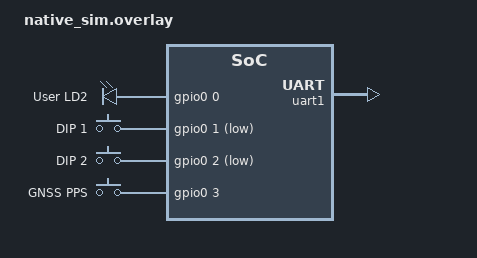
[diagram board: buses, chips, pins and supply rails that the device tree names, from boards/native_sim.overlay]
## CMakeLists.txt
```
cmake_minimum_required(VERSION 3.13.1)
find_package(Zephyr REQUIRED HINTS $ENV{ZEPHYR_BASE})

project(app LANGUAGES C CXX)

target_include_directories(app PRIVATE include)
target_sources(app PRIVATE src/main.cpp src/state_machine.cpp)
```

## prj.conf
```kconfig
# Copyright (c) 2024 Aaron Chan
# SPDX-License-Identifier: Apache-2.0

CONFIG_SMF=y
CONFIG_LORA=y
CONFIG_LOG=y
CONFIG_CBPRINTF_FP_SUPPORT=y
CONFIG_GNSS=y
CONFIG_GNSS_SATELLITES=y
CONFIG_GNSS_NMEA0183=y
CONFIG_UART_INTERRUPT_DRIVEN=y
CONFIG_CONSOLE=y
CONFIG_PRINTK=y
CONFIG_UART_CONSOLE=y
CONFIG_LOG_BACKEND_UART=y
CONFIG_SERIAL=y
CONFIG_COUNTER=y
CONFIG_CPP=y
CONFIG_REQUIRES_FULL_LIBCPP=y
CONFIG_STD_CPP23=y


CONFIG_MAIN_STACK_SIZE=2048
#CONFIG_LORA_LOG_LEVEL_DBG=y

CONFIG_SHELL=y

CONFIG_FLASH=y
CONFIG_FLASH_MAP=y
CONFIG_NVS=y
CONFIG_SETTINGS=y
CONFIG_SETTINGS_NVS=y
CONFIG_MPU_ALLOW_FLASH_WRITE=y

# Core
CONFIG_CORE=y
CONFIG_CORE_GNSS=y
CONFIG_CORE_SETTINGS=y
CONFIG_CORE_LORA=y
CONFIG_CORE_TDMA_TIME=y

# Core Settings
CONFIG_SHELL_FREQUENCY=y
CONFIG_LICENSED_FREQUENCY=n
CONFIG_SHELL_NODE_ID=y
```

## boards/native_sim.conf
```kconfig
# Disable real SPI hardware but keep LoRa enabled via sim driver
CONFIG_SPI=n
CONFIG_LORA=y
CONFIG_LORA_SIM=y

# GNSS over emulated UART
CONFIG_SERIAL=y
CONFIG_UART_NATIVE_POSIX=y
CONFIG_GNSS=y
CONFIG_GNSS_NMEA_GENERIC=y

# Console on native stdin/stdout
CONFIG_CONSOLE=y
CONFIG_NATIVE_UART_0_ON_STDINOUT=y

# NVS on emulated flash
CONFIG_FLASH=y
CONFIG_FLASH_MAP=y
CONFIG_NVS=y

# GPIO for LED/DIP/PPS stubs
CONFIG_GPIO=y

# Shell
CONFIG_SHELL=y
```

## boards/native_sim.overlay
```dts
// native_sim overlay for Outlaw GPS tracker
// Provides emulated peripherals matching the aliases used by application code

/ {
	leds: leds {
		compatible = "gpio-leds";

		led: led {
			gpios = <&gpio0 0 GPIO_ACTIVE_HIGH>;
			label = "User LD2";
		};
	};

	gpio_keys {
		compatible = "gpio-keys";

		dip1: dip1 {
			label = "DIP 1";
			gpios = <&gpio0 1 GPIO_ACTIVE_LOW>;
			zephyr,code = <0>;
		};

		dip2: dip2 {
			label = "DIP 2";
			gpios = <&gpio0 2 GPIO_ACTIVE_LOW>;
			zephyr,code = <0>;
		};

		pps: pps {
			label = "GNSS PPS";
			gpios = <&gpio0 3 GPIO_ACTIVE_HIGH>;
			zephyr,code = <0>;
		};
	};

	// Simulated LoRa over UDP multicast
	lora0: lora_sim {
		compatible = "wildwest,lora-sim";
		frequency = <903000000>;
		status = "okay";
	};

	aliases {
		led0 = &led;
		dip0 = &dip1;
		dip1 = &dip2;
		pps = &pps;
		lora = &lora0;
	};
};

// GNSS UART - native_sim provides uart0/uart1 by default
// Application can use uart1 as gnss-uart for NMEA injection via pipe/PTY
&uart1 {
	status = "okay";
};

&flash0 {
	partitions {
		compatible = "fixed-partitions";
		#address-cells = <1>;
		#size-cells = <1>;

		storage_partition: partition@0 {
			label = "storage";
			reg = <0x00000000 DT_SIZE_K(16)>;
		};
	};
};
```

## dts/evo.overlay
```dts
/ {
    aliases {
        lora = &lora1;
    };
};

&lora0 {
    status = "disabled";
};

&spi1 {
    pinctrl-0 = <&spi1_sck_pa5 &spi1_miso_pa6 &spi1_mosi_pa7>;
    pinctrl-names = "default";
    cs-gpios = <&gpiob 0 (GPIO_ACTIVE_LOW | GPIO_PULL_UP)>;
    status = "okay";

    lora1: lora1@0 {
		compatible = "semtech,sx1262";
		reg = <0>;

		reset-gpios = <&gpiob 11 GPIO_ACTIVE_LOW>;
		dio1-gpios = <&gpiob 13 GPIO_ACTIVE_HIGH>;
		busy-gpios = <&gpiob 15 GPIO_ACTIVE_HIGH>;

		spi-max-frequency = <DT_FREQ_M(1)>;
		status = "okay";
    };
};
```

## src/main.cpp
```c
/*
 * Copyright (c) 2024 Aaron Chan
 * SPDX-License-Identifier: Apache-2.0
 */

#include "state_machine.h"

#include <core/GnssReceiver.h>
#include <core/LoraTransceiver.h>
#include <core/Settings.h>
#include <core/TdmaClock.h>
#include <core/defs.h>
#include <core/tdma.h>
#include <core/time.h>
#include <zephyr/device.h>
#include <zephyr/devicetree.h>
#include <zephyr/drivers/gnss.h>
#include <zephyr/drivers/gpio.h>
#include <zephyr/drivers/lora.h>
#include <zephyr/kernel.h>
#include <zephyr/logging/log.h>
#include <zephyr/logging/log_ctrl.h>

LOG_MODULE_REGISTER(main);
GNSS_DATA_CALLBACK_DEFINE(DEVICE_DT_GET(DT_ALIAS(gnss)), gnssCallback);

int main() {
    static const gpio_dt_spec pps_spec = GPIO_DT_SPEC_GET(DT_ALIAS(pps), gpios);
    static const gpio_dt_spec led = GPIO_DT_SPEC_GET(DT_ALIAS(led0), gpios);
    const device *tim2Dev = DEVICE_DT_GET(DT_ALIAS(tdma_timer));
    if (!device_is_ready(led.port)) {
        LOG_ERR("LED GPIO device not ready\n");
    }

    if (!device_is_ready(tim2Dev)) {
        LOG_ERR("TDMA timer device not ready");
    }

    Settings::load();
    const uint8_t nodeId = Settings::getNodeId();
    const uint32_t freqHz = Settings::getFrequency();
    const float freqMHz = static_cast<float>(freqHz) / 1'000'000;
#ifdef CONFIG_LICENSED_FREQUENCY
    const char callsign[Settings::CALLSIGN_LEN] = {};
    Settings::getCallsign(const_cast<char *>(callsign));
    LOG_INF("Callsign: %.6s", callsign);
    StateMachine sm(nodeId, freqMHz, callsign);
#else
    StateMachine sm(nodeId, freqMHz);
#endif

    time_setup_pps(&pps_spec);
    TdmaClock::instance().init(&pps_spec, tim2Dev);

    while (true) {
        const int ret = sm.run();
        if (ret != 0) {
            LOG_ERR("state_machine_run returned %d", ret);
            k_sleep(K_SECONDS(1));
        }

        k_sleep(K_MSEC(100));
    }

    return 0;
}
```

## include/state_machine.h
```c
#pragma once

#include "core/GnssReceiver.h"
#include "core/LoraTransceiver.h"

#include <stdint.h>
#include <zephyr/kernel.h>

class StateMachine {
  public:
#ifdef CONFIG_LICENSED_FREQUENCY
    explicit StateMachine(uint8_t nodeId, const float frequencyMHz = 903.0, const char callsign[6] = "");
#else
    explicit StateMachine(uint8_t nodeId, const float frequencyMHz = 903.0);
#endif
    void handleTxTimer();

    int run();

  private:
    enum class State { Transmitter, Receiver };

    void enterTransmitter();
    void enterReceiver();
    void exitReceiver();
    void transitionTo(State target);
    int checkForTransition();

    void doTx();

    friend void txWorkHandler(struct k_work *work);

#ifdef CONFIG_LICENSED_FREQUENCY
    const char *callsign;
#endif
    LoraTransceiver lora;
    GnssReceiver gnssReceiver;
    k_timer txTimer{};
    k_work txWork{};
    k_spinlock dataLock{};
    gnss_data pendingGnssData{};
    bool pendingHasFix{false};
    uint8_t nodeId{};
    int lastPinSate{-1};
    State currentState{State::Transmitter};
};
```

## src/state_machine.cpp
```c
#include "state_machine.h"

#include <zephyr/drivers/gnss.h>
#include <zephyr/drivers/gpio.h>
#include <zephyr/kernel.h>
#include <zephyr/logging/log.h>

static constexpr int TRANSMITTER_LOGIC_LEVEL = 0;
static constexpr int TRANSMITTER_LED_LEVEL = 0;

static constexpr int RECEIVER_LOGIC_LEVEL = 1;
static constexpr int RECEIVER_LED_LEVEL = 1;

LOG_MODULE_REGISTER(state_machine);

static const gpio_dt_spec dip0 = GPIO_DT_SPEC_GET(DT_ALIAS(dip0), gpios);
static const gpio_dt_spec led = GPIO_DT_SPEC_GET(DT_ALIAS(led0), gpios);

static void txTimerCallback(struct k_timer *timer) {
    if (auto *sm = static_cast<StateMachine *>(k_timer_user_data_get(timer))) {
        sm->handleTxTimer();
    }
}

void txWorkHandler(struct k_work *work) {
    auto *sm = CONTAINER_OF(work, StateMachine, txWork);
    sm->doTx();
}

#ifdef CONFIG_LICENSED_FREQUENCY
StateMachine::StateMachine(uint8_t nodeId, const float frequencyMHz, const char *callsign)
    : callsign(callsign), lora(nodeId, frequencyMHz), nodeId(nodeId) {
    k_timer_init(&txTimer, txTimerCallback, nullptr);
    k_timer_user_data_set(&txTimer, this);
    k_work_init(&txWork, txWorkHandler);
    lora.setCallsign(callsign);

#ifdef CONFIG_DEFAULT_RECEIVE_MODE
    currentState = State::Receiver;
    enterReceiver();
#else
    currentState = State::Transmitter;
    enterTransmitter();
#endif

    setGnssReciever(&gnssReceiver);
}

#else

StateMachine::StateMachine(const uint8_t nodeId, const float frequencyMhz)
    : lora(nodeId, frequencyMhz), nodeId(nodeId) {
    k_timer_init(&txTimer, txTimerCallback, nullptr);
    k_timer_user_data_set(&txTimer, this);
    k_work_init(&txWork, txWorkHandler);

#ifdef CONFIG_DEFAULT_RECEIVE_MODE
    currentState = State::Receiver;
    enterReceiver();
#else
    currentState = State::Transmitter;
    enterTransmitter();
#endif

    setGnssReciever(&gnssReceiver);
}

#endif

void StateMachine::handleTxTimer() {
    k_spinlock_key_t key = k_spin_lock(&dataLock);
    pendingHasFix = gnssReceiver.isFixAcquired();
    if (pendingHasFix) {
        pendingGnssData = gnssReceiver.getLatestData();
    }
    k_spin_unlock(&dataLock, key);

    k_work_submit(&txWork);
}

void StateMachine::doTx() {
    k_spinlock_key_t key = k_spin_lock(&dataLock);
    const bool hasFix = pendingHasFix;
    const gnss_data snapshot = pendingGnssData;
    k_spin_unlock(&dataLock, key);

    const bool success = hasFix ? lora.txGnssPayload(snapshot) : lora.txNoFixPayload();
    if (!success) {
        LOG_ERR("Failed to transmit LoRa packet");
    }
}

int StateMachine::run() { return checkForTransition(); }

void StateMachine::enterTransmitter() {
    LOG_INF("Entering transmitter state");
    lora.setTx();

    gpio_pin_set_dt(&led, TRANSMITTER_LED_LEVEL);
    k_timer_start(&txTimer, K_SECONDS(5), K_SECONDS(5));
}

void StateMachine::enterReceiver() {
    LOG_INF("Entering receiver state");
    lora.setRx();
    gpio_pin_set_dt(&led, RECEIVER_LED_LEVEL);
    k_timer_stop(&txTimer);
    lora.awaitRxPacket();
}

void StateMachine::exitReceiver() { lora.awaitCancel(); }

void StateMachine::transitionTo(State target) {
    if (target == currentState) {
        return;
    }

    if (currentState == State::Receiver) {
        exitReceiver();
    }

    currentState = target;

    if (currentState == State::Transmitter) {
        enterTransmitter();
    } else {
        enterReceiver();
    }
}

int StateMachine::checkForTransition() {
    const int current_pin_state = gpio_pin_get_dt(&dip0);
    LOG_DBG("Pin state: %d", current_pin_state);

    if (current_pin_state < 0) {
        LOG_DBG("dip0 gpio read error (%d); ignoring transition check", current_pin_state);
        return 0;
    }

    if (lastPinSate != current_pin_state) {
        if (current_pin_state == TRANSMITTER_LOGIC_LEVEL) {
            transitionTo(State::Transmitter);
        } else if (current_pin_state == RECEIVER_LOGIC_LEVEL) {
            transitionTo(State::Receiver);
        }
    }

    lastPinSate = current_pin_state;

    return 0;
}
```
